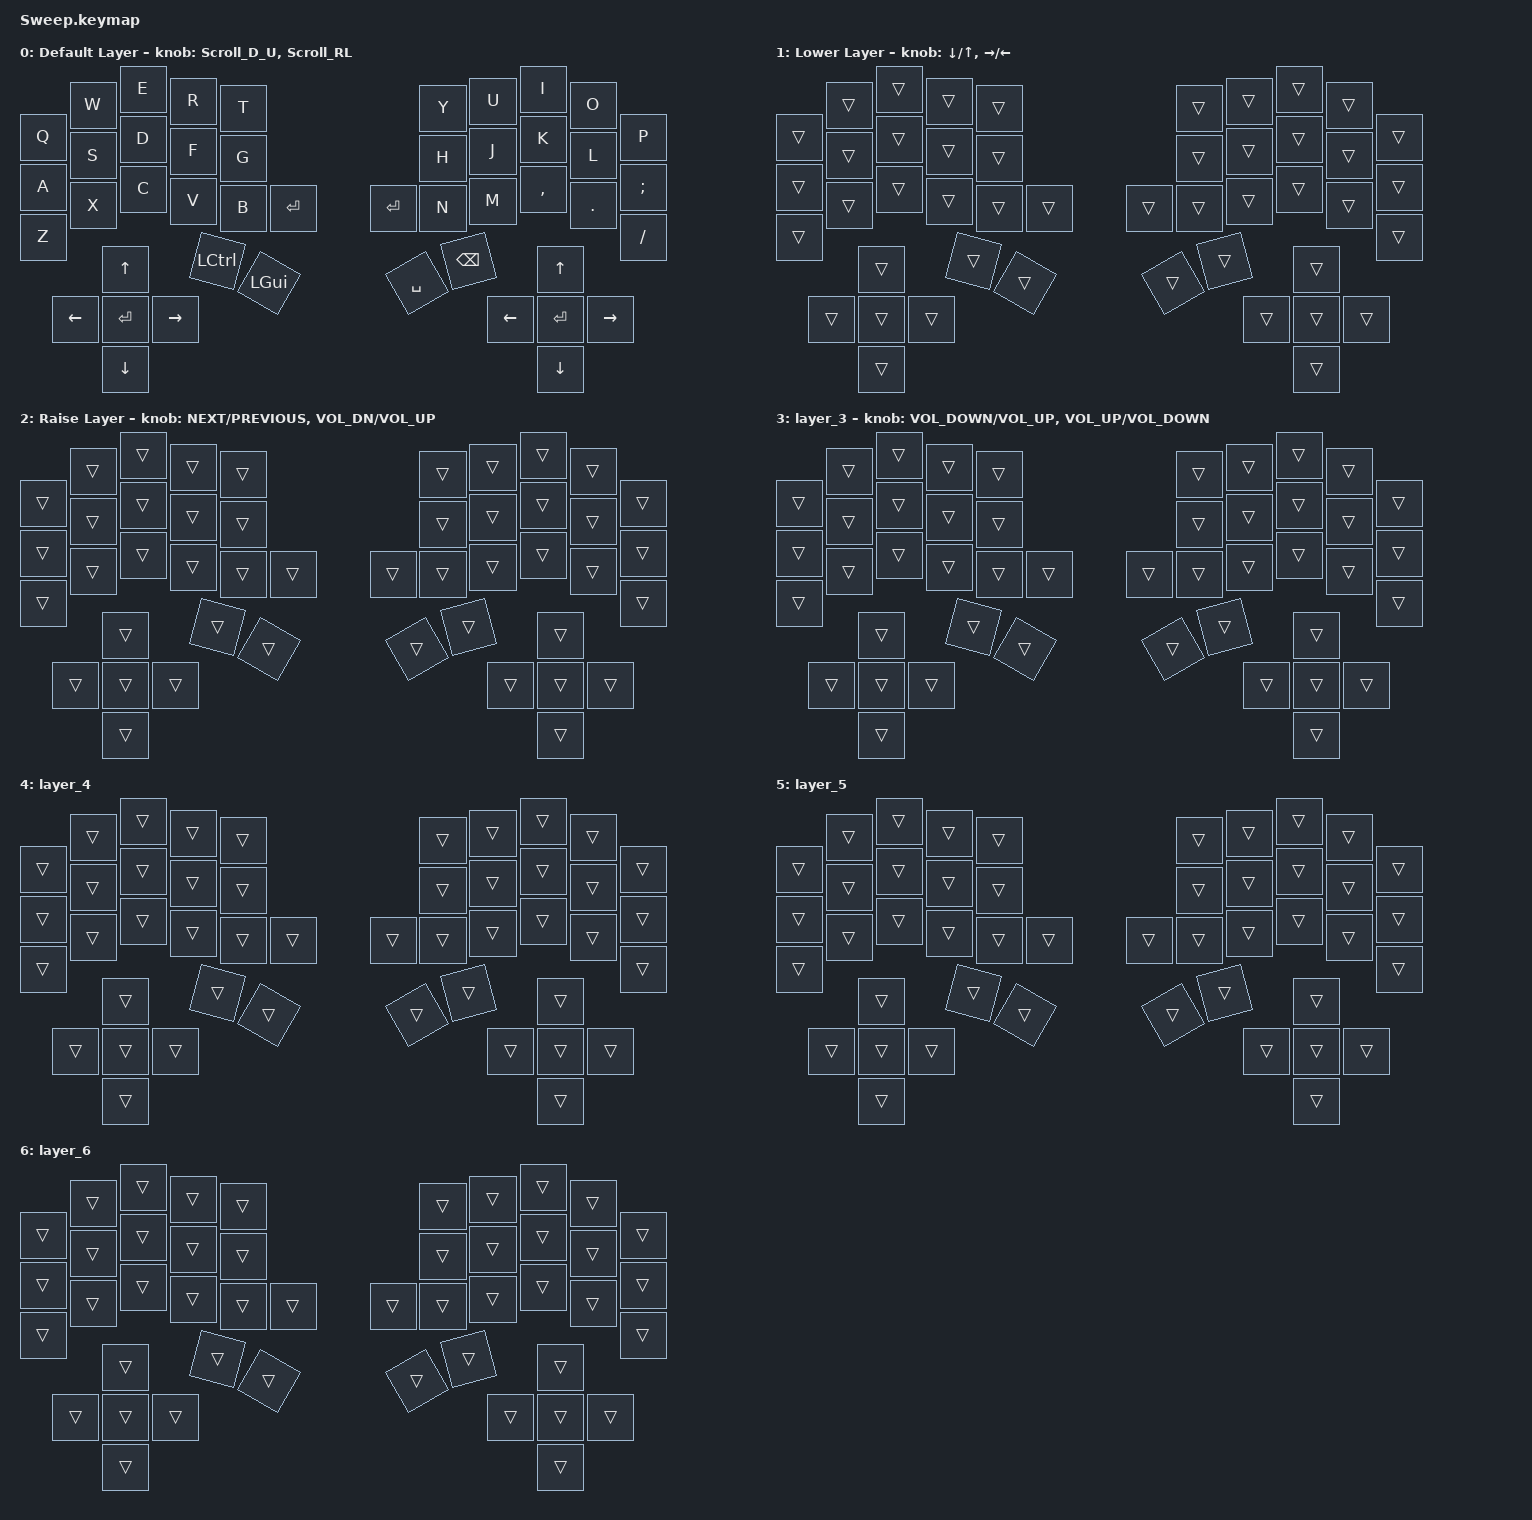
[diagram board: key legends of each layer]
/*
 * Copyright (c) 2020 The ZMK Contributors
 *
 * SPDX-License-Identifier: MIT
 */

#include <input/processors.dtsi>
#include <zephyr/dt-bindings/input/input-event-codes.h>
#include <dt-bindings/zmk/mouse.h>
#include <behaviors/mouse_keys.dtsi>
#include <behaviors.dtsi>
#include <dt-bindings/zmk/keys.h>
#include <dt-bindings/zmk/pointing.h>

#define ZMK_POINTING_DEFAULT_MOVE_VAL 1200  // 600
#define ZMK_POINTING_DEFAULT_SCRL_VAL 900   // mousescroll SPEED

&mmv_input_listener { input-processors = <&zip_xy_scaler 2 1>; };

&msc_input_listener { input-processors = <&zip_scroll_scaler 2 1>; };

&msc {
    acceleration-exponent = <1>;      // 0
    time-to-max-speed-ms = <100>;       // 300
    delay-ms = <0>;                   // 0
};

&mmv {
    time-to-max-speed-ms = <500>;
    acceleration-exponent = <1>;
    trigger-period-ms = <16>;
};

&soft_off {
    hold-time-ms = <3000>; // Only turn off it the key is held for 3 seconds or longer.
};

&mt {
    tapping-term-ms = <300>;
    flavor = "tap-preferred";
};

&lt { tapping-term-ms = <300>; };

/ {
    behaviors {
        Scroll_D_U: Scroll_D_U {
            compatible = "zmk,behavior-sensor-rotate";
            label = "SCROLL_D_U";
            #sensor-binding-cells = <0>;
            bindings = <&msc SCRL_DOWN>, <&msc SCRL_UP>;

            tap-ms = <20>;
        };

        TD01: TD01 {
            compatible = "zmk,behavior-tap-dance";
            label = "TD01";
            #binding-cells = <0>;
            bindings = <&kp MINUS>, <&kp PERIOD>;
        };

        Scroll_U_D: Scroll_U_D {
            compatible = "zmk,behavior-sensor-rotate";
            label = "SCROLL_U_D";
            #sensor-binding-cells = <0>;
            bindings = <&msc SCRL_UP>, <&msc SCRL_DOWN>;

            tap-ms = <20>;
        };

        Scroll_LR: Scroll_LR {
            compatible = "zmk,behavior-sensor-rotate";
            label = "SCROLL_LR";
            #sensor-binding-cells = <0>;
            bindings = <&msc SCRL_LEFT>, <&msc SCRL_RIGHT>;

            tap-ms = <20>;
        };

        Scroll_RL: Scroll_RL {
            compatible = "zmk,behavior-sensor-rotate";
            label = "SCROLL_RL";
            #sensor-binding-cells = <0>;
            bindings = <&msc SCRL_RIGHT>, <&msc SCRL_LEFT>;

            tap-ms = <20>;
        };

        mouse_DU: mouse_DU {
            compatible = "zmk,behavior-sensor-rotate";
            label = "MOUSE_DU";
            #sensor-binding-cells = <0>;
            bindings = <&mmv MOVE_DOWN>, <&mmv MOVE_UP>;
        };

        mouse_RL: mouse_RL {
            compatible = "zmk,behavior-sensor-rotate";
            label = "MOUSE_RL";
            #sensor-binding-cells = <0>;
            bindings = <&mmv MOVE_RIGHT>, <&mmv MOVE_LEFT>;
        };
    };

    keymap {
        compatible = "zmk,keymap";

        default_layer {
            display-name = "Default Layer";
            bindings = <
&kp Q     &kp W   &kp E    &kp R      &kp T      &kp Y      &kp U     &kp I      &kp O    &kp P
&kp A     &kp S   &kp D    &kp F      &kp G      &kp H      &kp J     &kp K      &kp L    &kp SEMI
&kp Z     &kp X   &kp C    &kp V      &kp B      &kp N      &kp M     &kp COMMA  &kp DOT  &kp FSLH
                  &kp RET  &kp LCTRL  &kp LGUI   &kp SPACE  &kp BSPC  &kp RET
&kp LEFT  &kp UP  &kp RET  &kp DOWN   &kp RIGHT  &kp LEFT   &kp DOWN  &kp RET    &kp UP   &kp RIGHT
            >;

            sensor-bindings = <&Scroll_D_U>, <&Scroll_RL>;
        };

        lower_layer {
            display-name = "Lower Layer";
            bindings = <
&trans  &trans  &trans  &trans  &trans  &trans  &trans  &trans  &trans  &trans
&trans  &trans  &trans  &trans  &trans  &trans  &trans  &trans  &trans  &trans
&trans  &trans  &trans  &trans  &trans  &trans  &trans  &trans  &trans  &trans
                &trans  &trans  &trans  &trans  &trans  &trans
&trans  &trans  &trans  &trans  &trans  &trans  &trans  &trans  &trans  &trans
            >;

            sensor-bindings =
                <&inc_dec_kp DOWN UP_ARROW>,
                <&inc_dec_kp RIGHT LEFT>;
        };

        raise_layer {
            display-name = "Raise Layer";
            bindings = <
&trans  &trans  &trans  &trans  &trans  &trans  &trans  &trans  &trans  &trans
&trans  &trans  &trans  &trans  &trans  &trans  &trans  &trans  &trans  &trans
&trans  &trans  &trans  &trans  &trans  &trans  &trans  &trans  &trans  &trans
                &trans  &trans  &trans  &trans  &trans  &trans
&trans  &trans  &trans  &trans  &trans  &trans  &trans  &trans  &trans  &trans
            >;

            sensor-bindings =
                <&inc_dec_kp C_NEXT C_PREVIOUS>,
                <&inc_dec_kp C_VOL_DN C_VOL_UP>;
        };

        layer_3 {
            bindings = <
&trans  &trans  &trans  &trans  &trans  &trans  &trans  &trans  &trans  &trans
&trans  &trans  &trans  &trans  &trans  &trans  &trans  &trans  &trans  &trans
&trans  &trans  &trans  &trans  &trans  &trans  &trans  &trans  &trans  &trans
                &trans  &trans  &trans  &trans  &trans  &trans
&trans  &trans  &trans  &trans  &trans  &trans  &trans  &trans  &trans  &trans
            >;

            sensor-bindings =
                <&inc_dec_kp C_VOLUME_DOWN C_VOLUME_UP>,
                <&inc_dec_kp C_VOLUME_UP C_VOLUME_DOWN>;
        };

        layer_4 {
            bindings = <
&trans  &trans  &trans  &trans  &trans  &trans  &trans  &trans  &trans  &trans
&trans  &trans  &trans  &trans  &trans  &trans  &trans  &trans  &trans  &trans
&trans  &trans  &trans  &trans  &trans  &trans  &trans  &trans  &trans  &trans
                &trans  &trans  &trans  &trans  &trans  &trans
&trans  &trans  &trans  &trans  &trans  &trans  &trans  &trans  &trans  &trans
            >;
        };

        layer_5 {
            bindings = <
&trans  &trans  &trans  &trans  &trans  &trans  &trans  &trans  &trans  &trans
&trans  &trans  &trans  &trans  &trans  &trans  &trans  &trans  &trans  &trans
&trans  &trans  &trans  &trans  &trans  &trans  &trans  &trans  &trans  &trans
                &trans  &trans  &trans  &trans  &trans  &trans
&trans  &trans  &trans  &trans  &trans  &trans  &trans  &trans  &trans  &trans
            >;
        };

        layer_6 {
            bindings = <
&trans  &trans  &trans  &trans  &trans  &trans  &trans  &trans  &trans  &trans
&trans  &trans  &trans  &trans  &trans  &trans  &trans  &trans  &trans  &trans
&trans  &trans  &trans  &trans  &trans  &trans  &trans  &trans  &trans  &trans
                &trans  &trans  &trans  &trans  &trans  &trans
&trans  &trans  &trans  &trans  &trans  &trans  &trans  &trans  &trans  &trans
            >;
        };
    };
};
